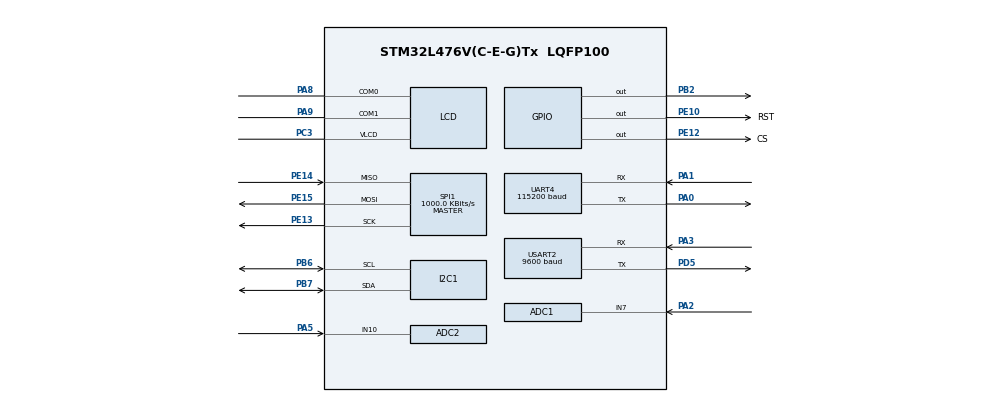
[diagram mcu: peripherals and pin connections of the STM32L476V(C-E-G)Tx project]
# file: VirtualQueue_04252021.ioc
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ADC1.Channel-1\#ChannelRegularConversion=ADC_CHANNEL_7
ADC1.NbrOfConversionFlag=1
ADC1.OffsetNumber-1\#ChannelRegularConversion=ADC_OFFSET_NONE
ADC1.Rank-1\#ChannelRegularConversion=1
ADC1.SamplingTime-1\#ChannelRegularConversion=ADC_SAMPLETIME_2CYCLES_5
ADC1.master=1
ADC2.Channel-0\#ChannelRegularConversion=ADC_CHANNEL_10
ADC2.NbrOfConversionFlag=1
ADC2.OffsetNumber-0\#ChannelRegularConversion=ADC_OFFSET_NONE
ADC2.Rank-0\#ChannelRegularConversion=1
ADC2.SamplingTime-0\#ChannelRegularConversion=ADC_SAMPLETIME_2CYCLES_5
Dma.Request0=UART4_RX
Dma.UART4_RX.0.Direction=DMA_PERIPH_TO_MEMORY
Dma.UART4_RX.0.Instance=DMA2_Channel5
Dma.UART4_RX.0.MemDataAlignment=DMA_MDATAALIGN_BYTE
Dma.UART4_RX.0.MemInc=DMA_MINC_ENABLE
Dma.UART4_RX.0.Mode=DMA_NORMAL
Dma.UART4_RX.0.PeriphDataAlignment=DMA_PDATAALIGN_BYTE
Dma.UART4_RX.0.PeriphInc=DMA_PINC_DISABLE
Dma.UART4_RX.0.Priority=DMA_PRIORITY_LOW
Mcu.Family=STM32L4
Mcu.Name=STM32L476V(C-E-G)Tx
Mcu.Package=LQFP100
NVIC.DMA2_Channel5_IRQn=true\:0\:0\:false\:false\:true\:false\:true
NVIC.PriorityGroup=NVIC_PRIORITYGROUP_4
NVIC.TIM1_UP_TIM16_IRQn=true\:0\:0\:false\:false\:true\:true\:true
NVIC.UART4_IRQn=true\:0\:0\:false\:false\:true\:true\:true
NVIC.USART2_IRQn=true\:0\:0\:false\:false\:true\:true\:true
PA0.Mode=Asynchronous
PA0.Signal=UART4_TX
PA1.Mode=Asynchronous
PA1.Signal=UART4_RX
PA2.Signal=ADCx_IN7
PA3.Mode=Asynchronous
PA3.Signal=USART2_RX
PA5.Signal=ADCx_IN10
PA8.Mode=1/2 Duty Cycle
PA8.Signal=LCD_COM0
PA9.Mode=1/2 Duty Cycle
PA9.Signal=LCD_COM1
PB2.Signal=GPIO_Output
PB6.Mode=I2C
PB6.Signal=I2C1_SCL
PB7.Mode=I2C
PB7.Signal=I2C1_SDA
PC3.Mode=1/2 Duty Cycle
PC3.Signal=LCD_VLCD
PD5.Mode=Asynchronous
PD5.Signal=USART2_TX
PE10.GPIO_Label=RST
PE10.Signal=GPIO_Output
PE12.GPIO_Label=CS
PE12.Signal=GPIO_Output
PE13.Mode=Full_Duplex_Master
PE13.Signal=SPI1_SCK
PE14.Mode=Full_Duplex_Master
PE14.Signal=SPI1_MISO
PE15.Mode=Full_Duplex_Master
PE15.Signal=SPI1_MOSI
ProjectManager.HeapSize=0x200
ProjectManager.StackSize=0x400
ProjectManager.TargetToolchain=STM32CubeIDE
RCC.ADCFreq_Value=32000000
RCC.HSE_VALUE=8000000
RCC.HSI_VALUE=16000000
RCC.LSE_VALUE=32768
RCC.MSI_VALUE=4000000
RCC.PLLSAI1N=16
RCC.USBFreq_Value=32000000
RCC.VCOOutputFreq_Value=32000000
SH.ADCx_IN10.0=ADC2_IN10,IN10-Single-Ended
SH.ADCx_IN7.0=ADC1_IN7,IN7-Single-Ended
SPI1.BaudRatePrescaler=SPI_BAUDRATEPRESCALER_4
SPI1.CalculateBaudRate=1000.0 KBits/s
SPI1.DataSize=SPI_DATASIZE_8BIT
SPI1.Direction=SPI_DIRECTION_2LINES
SPI1.Mode=SPI_MODE_MASTER
SPI1.NSSPMode=SPI_NSS_PULSE_DISABLE
SPI1.VirtualType=VM_MASTER
TIM16.Period=999
TIM16.Prescaler=7999
UART4.BaudRate=115200
USART2.BaudRate=9600
USART2.VirtualMode-Asynchronous=VM_ASYNC
VP_TIM16_VS_ClockSourceINT.Mode=Enable_Timer
board=custom

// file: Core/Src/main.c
/* USER CODE BEGIN Header */
/**
  ******************************************************************************
  * @file           : main.c
  * @brief          : Main program body
  ******************************************************************************
  * @attention
  *
  * <h2><center>&copy; Copyright (c) 2021 STMicroelectronics.
  * All rights reserved.</center></h2>
  *
  * This software component is licensed by ST under BSD 3-Clause license,
  * the "License"; You may not use this file except in compliance with the
  * License. You may obtain a copy of the License at:
  *                        opensource.org/licenses/BSD-3-Clause
  *
  ******************************************************************************
  This is the "clean" version being built towards the final product. The regular
  main.c is more of a testing/unclean version.
  */
/* USER CODE END Header */

#include "main.h"

/* USER CODE BEGIN Includes */
#include <stdio.h>
//#include "retarget.h"
#include "utility.h"
#include "wifi_module.h"
#include "qr_scanner.h"
#include "motion.h"
#include "mytype.h"
#include "thermopile.h"
/* USER CODE END Includes */

ADC_HandleTypeDef hadc1;
ADC_HandleTypeDef hadc2;

I2C_HandleTypeDef hi2c1;

LCD_HandleTypeDef hlcd;

SPI_HandleTypeDef hspi1;

TIM_HandleTypeDef htim16;

UART_HandleTypeDef huart4;
UART_HandleTypeDef huart2;
DMA_HandleTypeDef hdma_uart4_rx;

void SystemClock_Config(void);
static void MX_GPIO_Init(void);
static void MX_DMA_Init(void);
static void MX_LCD_Init(void);
static void MX_USART2_UART_Init(void);
static void MX_UART4_Init(void);
static void MX_I2C1_Init(void);
static void MX_SPI1_Init(void);
static void MX_TIM16_Init(void);
static void MX_ADC1_Init(void);
static void MX_ADC2_Init(void);

int main(void)
{

  /* MCU Configuration--------------------------------------------------------*/

  /* Reset of all peripherals, Initializes the Flash interface and the Systick. */
  HAL_Init();

  /* USER CODE BEGIN Init */
  BSP_LCD_GLASS_Init();

  /* USER CODE END Init */

  /* Configure the system clock */
  SystemClock_Config();

  /* Initialize all configured peripherals */
  MX_GPIO_Init();
  MX_DMA_Init();
  MX_LCD_Init();
  MX_USART2_UART_Init();
  MX_UART4_Init();
  MX_I2C1_Init();
  MX_SPI1_Init();
  MX_TIM16_Init();
  MX_ADC1_Init();
  MX_ADC2_Init();
  /* USER CODE BEGIN 2 */
  //RetargetInit(&huart2);
  printf("\r\nStarting\r\n");

  // INITS
  queue_length = 0; // init these first so the display works
  store_capacity = 0;
  num_in_store = 0;
  main_display_init(&hspi1); // THIS SHOULD INIT FIRST so other modules can use it for error printing

  main_display_info(&hspi1, num_in_store, queue_length, store_capacity, "Starting up...", "Please wait", NULL, NULL);
  qr_scanner_init(&huart2, 0); // note - THIS SHOULD BE CALLED BEFORE esp8266_init() if using QR scanning for WiFi setup

  bool esp_ok = esp8266_init(&huart4, &hspi1, 2, 1);
  if (esp_ok == false) {
	  main_display_info(&hspi1, num_in_store, queue_length, store_capacity, "Wifi doesn't set up properly", NULL, NULL, NULL);
	  return 1;
  }

  qr_scan_pending = 0;
  HAL_UART_Receive_IT(qr_huart, qr_buf, QR_SIZE); // note - CALL THIS HERE to restart QR scanning after WiFi setup via QR

  thermopile_init(&hadc1, &hadc2);

  bool motion_sensor_ok = initialize_motion_sensor(&hi2c1);
  if (motion_sensor_ok != true) {
	  main_display_info(&hspi1, num_in_store, queue_length, store_capacity, "motion sensor fails", NULL, NULL, NULL);
	  return 1;
  }

  // MOTION SENSOR BUFFER VARIABLES
  int pir_size = 50; // size of buffer
  int pir_samples[pir_size]; // buffer
  int threshold = 6; // number of readings in buffer to trigger motion
  int left = 0; // number of lefts
  int right = 0; // number of rights
  int nothing = pir_size; // number of no motions
  bool send_enable = false; // flag to prevent constantly sending when threshold met
  int sample_i = 0; // sample index
  memset(pir_samples, 0, pir_size);

  printf("INIT DONE\r\n");
  main_display_info(&hspi1, num_in_store, queue_length, store_capacity, "Setup complete!", NULL, NULL, NULL);
  get_status(); // get initial queue status for monitor
  HAL_TIM_Base_Start_IT(&htim16);

  int prevent_strobe = 0;
  /* USER CODE END 2 */

  /* Infinite loop */
  /* USER CODE BEGIN WHILE */
  while (1)
  {

    // QR HANDLING
    // if a qr scan has OCCURRED, handle
	if (qr_scan_pending == 1) {
		printf("BEGIN SEND SCAN\r\n");
		qr_scan_received();
	}

    // MOTION SENSOR HANDLING
	if (loop_motion_sensor(&hi2c1) == true) {
		uint8_t movement = motion_sensor_get_moment();

        // decrement count of motion type that is being overwritten
		if (pir_samples[sample_i] == 1) {
			--right;
		} else if (pir_samples[sample_i] == -1) {
			--left;
		} else {
			--nothing;
		}

        // increase appropriate motion type count
		if (movement & MOVEMENT_FROM_2_TO_4)
	    {
		  // RIGHT
	      pir_samples[sample_i] = 1;
	      ++right;
	    }
	    else if(movement & MOVEMENT_FROM_4_TO_2)
	    {
	      // LEFT
	      pir_samples[sample_i] = -1;
	      ++left;
	    } else {
	      pir_samples[sample_i] = 0;
	      ++nothing;
	    }

        // increment buffer index
		sample_i++;
		if (sample_i >= pir_size) {
			sample_i = 0;
		}

        // if motion type has exceeded threshold and able to send,
        // send that type and disable sending
		if (left > threshold && send_enable) {
			printf("SEND LEFT\r\n");
			if (valid_entries > 0) {
				send_entry();
				--valid_entries;
				main_display_info(&hspi1, num_in_store, queue_length, store_capacity, "     Welcome to the ABC Store!", "Please wait to enter...", NULL, NULL);
			} else {
				send_unauthorizedEntry();
				main_display_info(&hspi1, num_in_store, queue_length, store_capacity, "WARNING:", "UNAUTHORIZED ENTRY", NULL, NULL);
			}
			send_enable = false;
		} else if (right > threshold && send_enable) {
			printf("SEND RIGHT\r\n");
			send_exit();
			send_enable = false;
			main_display_info(&hspi1, num_in_store, queue_length, store_capacity, "     Welcome to the ABC Store!", "Please wait to enter...", NULL, NULL);
		} else if (right < threshold && left < threshold) {
            // if both motion types below threshold, enable sending
			if (!send_enable) {
				printf("SEND ENABLE\r\n");
				send_enable = true;
				main_display_info(&hspi1, num_in_store, queue_length, store_capacity, "     Welcome to the ABC Store!", NULL, NULL, NULL);
			}
		}
	}

    // WIFI HANDLING
    // if have a response to handle
	if (message_pending_handling == 1) {
		handle_message_response();
	}
    // if messages pending, get ok and then send
	if (message_queue_head != NULL) {
		if (ready_for_next_message == 1) {
			tcp_connect();
		} else if (good_to_get_ok == 1) {
			get_ok_to_send();
		} else if (good_for_send == 1) {
			send_message();
		}
	}

	// TEMPERATURE
	if (people_checking_in > 0) {
		printf("CHECKING IN\r\n");
		if (prevent_strobe == 0) {
			main_display_info(&hspi1, num_in_store, queue_length, store_capacity, "     Welcome!", "Place your forehead near the sensor", "at the top of the kiosk", NULL);
			HAL_Delay(3000);
			prevent_strobe = 1;
		}
		/*
		//temeprature test
		while(1){
			int temp = getTemp();
			char temp_str[4];
			sprintf(temp_str, "%d", temp);

//purposeful Tsen manipulation
			int Tsen = getTsen();
			Tsen = 30;
			char temp_str2[4];
			sprintf(temp_str2, "%d", Tsen);

			int thermopileV = getV();
			char temp_str3[4];
			sprintf(temp_str3, "%d", thermopileV);

			int Rsen = getR();
			char temp_str4[4];
			sprintf(temp_str4, "%d", Rsen);

			HAL_Delay(2000);
			main_display_info(&hspi1, num_in_store, queue_length, store_capacity, temp_str,temp_str2 , temp_str3, temp_str4);
		}
		//end temperature test
		*/
		int temp = getTemp();
		temp = 36;
		char temp_str[4];
		sprintf(temp_str, "%d", temp);
		if (temp > TEMP_MAX) { // fever
			printf("TEMPERATURE TOO HIGH\r\n");
			main_display_info(&hspi1, num_in_store, queue_length, store_capacity, temp_str, "TEMPERATURE IS TOO HIGH", "SEEK STAFF ASSISTANCE", NULL);
			send_tempError(temp);
			people_checking_in = 0;
		} else if (temp >= TEMP_MIN){ // in bounds
			printf("TEMPERATURE OK PLEASE ENTER\r\n");
			main_display_info(&hspi1, num_in_store, queue_length, store_capacity, temp_str, "Temperature check ok!", "Enter when ready", NULL);
			++valid_entries;
			--people_checking_in;
		}
		if (people_checking_in == 0) {
			send_doneCheckingIn();
			prevent_strobe = 0;
		}
	}

	if (got_unexpected == 1) {
		main_display_info(&hspi1, num_in_store, queue_length, store_capacity, unexpected_return, NULL, NULL, NULL);
		got_unexpected = 0;
	}

    /* USER CODE END WHILE */

  }
}

void SystemClock_Config(void)
{
  RCC_OscInitTypeDef RCC_OscInitStruct = {0};
  RCC_ClkInitTypeDef RCC_ClkInitStruct = {0};
  RCC_PeriphCLKInitTypeDef PeriphClkInit = {0};

  /** Initializes the CPU, AHB and APB busses clocks
  */
  RCC_OscInitStruct.OscillatorType = RCC_OSCILLATORTYPE_LSI|RCC_OSCILLATORTYPE_MSI;
  RCC_OscInitStruct.LSIState = RCC_LSI_ON;
  RCC_OscInitStruct.MSIState = RCC_MSI_ON;
  RCC_OscInitStruct.MSICalibrationValue = 0;
  RCC_OscInitStruct.MSIClockRange = RCC_MSIRANGE_6;
  RCC_OscInitStruct.PLL.PLLState = RCC_PLL_NONE;
  if (HAL_RCC_OscConfig(&RCC_OscInitStruct) != HAL_OK)
  {
    Error_Handler();
  }
  /** Initializes the CPU, AHB and APB busses clocks
  */
  RCC_ClkInitStruct.ClockType = RCC_CLOCKTYPE_HCLK|RCC_CLOCKTYPE_SYSCLK
                              |RCC_CLOCKTYPE_PCLK1|RCC_CLOCKTYPE_PCLK2;
  RCC_ClkInitStruct.SYSCLKSource = RCC_SYSCLKSOURCE_MSI;
  RCC_ClkInitStruct.AHBCLKDivider = RCC_SYSCLK_DIV1;
  RCC_ClkInitStruct.APB1CLKDivider = RCC_HCLK_DIV1;
  RCC_ClkInitStruct.APB2CLKDivider = RCC_HCLK_DIV1;

  if (HAL_RCC_ClockConfig(&RCC_ClkInitStruct, FLASH_LATENCY_0) != HAL_OK)
  {
    Error_Handler();
  }
  PeriphClkInit.PeriphClockSelection = RCC_PERIPHCLK_RTC|RCC_PERIPHCLK_USART2
                              |RCC_PERIPHCLK_UART4|RCC_PERIPHCLK_I2C1
                              |RCC_PERIPHCLK_ADC;
  PeriphClkInit.Usart2ClockSelection = RCC_USART2CLKSOURCE_PCLK1;
  PeriphClkInit.Uart4ClockSelection = RCC_UART4CLKSOURCE_PCLK1;
  PeriphClkInit.I2c1ClockSelection = RCC_I2C1CLKSOURCE_PCLK1;
  PeriphClkInit.AdcClockSelection = RCC_ADCCLKSOURCE_PLLSAI1;
  PeriphClkInit.RTCClockSelection = RCC_RTCCLKSOURCE_LSI;
  PeriphClkInit.PLLSAI1.PLLSAI1Source = RCC_PLLSOURCE_MSI;
  PeriphClkInit.PLLSAI1.PLLSAI1M = 1;
  PeriphClkInit.PLLSAI1.PLLSAI1N = 16;
  PeriphClkInit.PLLSAI1.PLLSAI1P = RCC_PLLP_DIV7;
  PeriphClkInit.PLLSAI1.PLLSAI1Q = RCC_PLLQ_DIV2;
  PeriphClkInit.PLLSAI1.PLLSAI1R = RCC_PLLR_DIV2;
  PeriphClkInit.PLLSAI1.PLLSAI1ClockOut = RCC_PLLSAI1_ADC1CLK;
  if (HAL_RCCEx_PeriphCLKConfig(&PeriphClkInit) != HAL_OK)
  {
    Error_Handler();
  }
  /** Configure the main internal regulator output voltage
  */
  if (HAL_PWREx_ControlVoltageScaling(PWR_REGULATOR_VOLTAGE_SCALE1) != HAL_OK)
  {
    Error_Handler();
  }
}

static void MX_ADC1_Init(void)
{

  ADC_MultiModeTypeDef multimode = {0};
  ADC_ChannelConfTypeDef sConfig = {0};

  /** Common config
  */
  hadc1.Instance = ADC1;
  hadc1.Init.ClockPrescaler = ADC_CLOCK_ASYNC_DIV1;
  hadc1.Init.Resolution = ADC_RESOLUTION_12B;
  hadc1.Init.DataAlign = ADC_DATAALIGN_RIGHT;
  hadc1.Init.ScanConvMode = ADC_SCAN_DISABLE;
  hadc1.Init.EOCSelection = ADC_EOC_SINGLE_CONV;
  hadc1.Init.LowPowerAutoWait = DISABLE;
  hadc1.Init.ContinuousConvMode = DISABLE;
  hadc1.Init.NbrOfConversion = 1;
  hadc1.Init.DiscontinuousConvMode = DISABLE;
  hadc1.Init.ExternalTrigConv = ADC_SOFTWARE_START;
  hadc1.Init.ExternalTrigConvEdge = ADC_EXTERNALTRIGCONVEDGE_NONE;
  hadc1.Init.DMAContinuousRequests = DISABLE;
  hadc1.Init.Overrun = ADC_OVR_DATA_PRESERVED;
  hadc1.Init.OversamplingMode = DISABLE;
  if (HAL_ADC_Init(&hadc1) != HAL_OK)
  {
    Error_Handler();
  }
  /** Configure the ADC multi-mode
  */
  multimode.Mode = ADC_MODE_INDEPENDENT;
  if (HAL_ADCEx_MultiModeConfigChannel(&hadc1, &multimode) != HAL_OK)
  {
    Error_Handler();
  }
  /** Configure Regular Channel
  */
  sConfig.Channel = ADC_CHANNEL_7;
  sConfig.Rank = ADC_REGULAR_RANK_1;
  sConfig.SamplingTime = ADC_SAMPLETIME_2CYCLES_5;
  sConfig.SingleDiff = ADC_SINGLE_ENDED;
  sConfig.OffsetNumber = ADC_OFFSET_NONE;
  sConfig.Offset = 0;
  if (HAL_ADC_ConfigChannel(&hadc1, &sConfig) != HAL_OK)
  {
    Error_Handler();
  }

}

static void MX_ADC2_Init(void)
{

  ADC_ChannelConfTypeDef sConfig = {0};

  /** Common config
  */
  hadc2.Instance = ADC2;
  hadc2.Init.ClockPrescaler = ADC_CLOCK_ASYNC_DIV1;
  hadc2.Init.Resolution = ADC_RESOLUTION_12B;
  hadc2.Init.DataAlign = ADC_DATAALIGN_RIGHT;
  hadc2.Init.ScanConvMode = ADC_SCAN_DISABLE;
  hadc2.Init.EOCSelection = ADC_EOC_SINGLE_CONV;
  hadc2.Init.LowPowerAutoWait = DISABLE;
  hadc2.Init.ContinuousConvMode = DISABLE;
  hadc2.Init.NbrOfConversion = 1;
  hadc2.Init.DiscontinuousConvMode = DISABLE;
  hadc2.Init.ExternalTrigConv = ADC_SOFTWARE_START;
  hadc2.Init.ExternalTrigConvEdge = ADC_EXTERNALTRIGCONVEDGE_NONE;
  hadc2.Init.DMAContinuousRequests = DISABLE;
  hadc2.Init.Overrun = ADC_OVR_DATA_PRESERVED;
  hadc2.Init.OversamplingMode = DISABLE;
  if (HAL_ADC_Init(&hadc2) != HAL_OK)
  {
    Error_Handler();
  }
  /** Configure Regular Channel
  */
  sConfig.Channel = ADC_CHANNEL_10;
  sConfig.Rank = ADC_REGULAR_RANK_1;
  sConfig.SamplingTime = ADC_SAMPLETIME_2CYCLES_5;
  sConfig.SingleDiff = ADC_SINGLE_ENDED;
  sConfig.OffsetNumber = ADC_OFFSET_NONE;
  sConfig.Offset = 0;
  if (HAL_ADC_ConfigChannel(&hadc2, &sConfig) != HAL_OK)
  {
    Error_Handler();
  }

}

static void MX_I2C1_Init(void)
{

  hi2c1.Instance = I2C1;
  hi2c1.Init.Timing = 0x00000E14;
  hi2c1.Init.OwnAddress1 = 0;
  hi2c1.Init.AddressingMode = I2C_ADDRESSINGMODE_7BIT;
  hi2c1.Init.DualAddressMode = I2C_DUALADDRESS_DISABLE;
  hi2c1.Init.OwnAddress2 = 0;
  hi2c1.Init.OwnAddress2Masks = I2C_OA2_NOMASK;
  hi2c1.Init.GeneralCallMode = I2C_GENERALCALL_DISABLE;
  hi2c1.Init.NoStretchMode = I2C_NOSTRETCH_DISABLE;
  if (HAL_I2C_Init(&hi2c1) != HAL_OK)
  {
    Error_Handler();
  }
  /** Configure Analogue filter
  */
  if (HAL_I2CEx_ConfigAnalogFilter(&hi2c1, I2C_ANALOGFILTER_ENABLE) != HAL_OK)
  {
    Error_Handler();
  }
  /** Configure Digital filter
  */
  if (HAL_I2CEx_ConfigDigitalFilter(&hi2c1, 0) != HAL_OK)
  {
    Error_Handler();
  }

}

static void MX_LCD_Init(void)
{

  hlcd.Instance = LCD;
  hlcd.Init.Prescaler = LCD_PRESCALER_1;
  hlcd.Init.Divider = LCD_DIVIDER_16;
  hlcd.Init.Duty = LCD_DUTY_1_2;
  hlcd.Init.Bias = LCD_BIAS_1_4;
  hlcd.Init.VoltageSource = LCD_VOLTAGESOURCE_INTERNAL;
  hlcd.Init.Contrast = LCD_CONTRASTLEVEL_0;
  hlcd.Init.DeadTime = LCD_DEADTIME_0;
  hlcd.Init.PulseOnDuration = LCD_PULSEONDURATION_0;
  hlcd.Init.MuxSegment = LCD_MUXSEGMENT_DISABLE;
  hlcd.Init.BlinkMode = LCD_BLINKMODE_OFF;
  hlcd.Init.BlinkFrequency = LCD_BLINKFREQUENCY_DIV8;
  hlcd.Init.HighDrive = LCD_HIGHDRIVE_DISABLE;
  if (HAL_LCD_Init(&hlcd) != HAL_OK)
  {
    Error_Handler();
  }

}

static void MX_SPI1_Init(void)
{

  /* SPI1 parameter configuration*/
  hspi1.Instance = SPI1;
  hspi1.Init.Mode = SPI_MODE_MASTER;
  hspi1.Init.Direction = SPI_DIRECTION_2LINES;
  hspi1.Init.DataSize = SPI_DATASIZE_8BIT;
  hspi1.Init.CLKPolarity = SPI_POLARITY_LOW;
  hspi1.Init.CLKPhase = SPI_PHASE_1EDGE;
  hspi1.Init.NSS = SPI_NSS_SOFT;
  hspi1.Init.BaudRatePrescaler = SPI_BAUDRATEPRESCALER_4;
  hspi1.Init.FirstBit = SPI_FIRSTBIT_MSB;
  hspi1.Init.TIMode = SPI_TIMODE_DISABLE;
  hspi1.Init.CRCCalculation = SPI_CRCCALCULATION_DISABLE;
  hspi1.Init.CRCPolynomial = 7;
  hspi1.Init.CRCLength = SPI_CRC_LENGTH_DATASIZE;
  hspi1.Init.NSSPMode = SPI_NSS_PULSE_DISABLE;
  if (HAL_SPI_Init(&hspi1) != HAL_OK)
  {
    Error_Handler();
  }

}

static void MX_TIM16_Init(void)
{

  htim16.Instance = TIM16;
  htim16.Init.Prescaler = 7999;
  htim16.Init.CounterMode = TIM_COUNTERMODE_UP;
  htim16.Init.Period = 999;
  htim16.Init.ClockDivision = TIM_CLOCKDIVISION_DIV1;
  htim16.Init.RepetitionCounter = 0;
  htim16.Init.AutoReloadPreload = TIM_AUTORELOAD_PRELOAD_DISABLE;
  if (HAL_TIM_Base_Init(&htim16) != HAL_OK)
  {
    Error_Handler();
  }

}

static void MX_UART4_Init(void)
{

  huart4.Instance = UART4;
  huart4.Init.BaudRate = 115200;
  huart4.Init.WordLength = UART_WORDLENGTH_8B;
  huart4.Init.StopBits = UART_STOPBITS_1;
  huart4.Init.Parity = UART_PARITY_NONE;
  huart4.Init.Mode = UART_MODE_TX_RX;
  huart4.Init.HwFlowCtl = UART_HWCONTROL_NONE;
  huart4.Init.OverSampling = UART_OVERSAMPLING_16;
  huart4.Init.OneBitSampling = UART_ONE_BIT_SAMPLE_DISABLE;
  huart4.AdvancedInit.AdvFeatureInit = UART_ADVFEATURE_NO_INIT;
  if (HAL_UART_Init(&huart4) != HAL_OK)
  {
    Error_Handler();
  }

}

static void MX_USART2_UART_Init(void)
{

  huart2.Instance = USART2;
  huart2.Init.BaudRate = 9600;
  huart2.Init.WordLength = UART_WORDLENGTH_8B;
  huart2.Init.StopBits = UART_STOPBITS_1;
  huart2.Init.Parity = UART_PARITY_NONE;
  huart2.Init.Mode = UART_MODE_TX_RX;
  huart2.Init.HwFlowCtl = UART_HWCONTROL_NONE;
  huart2.Init.OverSampling = UART_OVERSAMPLING_16;
  huart2.Init.OneBitSampling = UART_ONE_BIT_SAMPLE_DISABLE;
  huart2.AdvancedInit.AdvFeatureInit = UART_ADVFEATURE_NO_INIT;
  if (HAL_UART_Init(&huart2) != HAL_OK)
  {
    Error_Handler();
  }

}

static void MX_DMA_Init(void)
{

  /* DMA controller clock enable */
  __HAL_RCC_DMA2_CLK_ENABLE();

  /* DMA interrupt init */
  /* DMA2_Channel5_IRQn interrupt configuration */
  HAL_NVIC_SetPriority(DMA2_Channel5_IRQn, 0, 0);
  HAL_NVIC_EnableIRQ(DMA2_Channel5_IRQn);

}

static void MX_GPIO_Init(void)
{
  GPIO_InitTypeDef GPIO_InitStruct = {0};

  /* GPIO Ports Clock Enable */
  __HAL_RCC_GPIOC_CLK_ENABLE();
  __HAL_RCC_GPIOA_CLK_ENABLE();
  __HAL_RCC_GPIOB_CLK_ENABLE();
  __HAL_RCC_GPIOE_CLK_ENABLE();
  __HAL_RCC_GPIOD_CLK_ENABLE();

  /*Configure GPIO pin Output Level */
  HAL_GPIO_WritePin(GPIOB, GPIO_PIN_2, GPIO_PIN_RESET);

  /*Configure GPIO pin Output Level */
  HAL_GPIO_WritePin(GPIOE, RST_Pin|CS_Pin, GPIO_PIN_RESET);

  /*Configure GPIO pin : PB2 */
  GPIO_InitStruct.Pin = GPIO_PIN_2;
  GPIO_InitStruct.Mode = GPIO_MODE_OUTPUT_PP;
  GPIO_InitStruct.Pull = GPIO_NOPULL;
  GPIO_InitStruct.Speed = GPIO_SPEED_FREQ_LOW;
  HAL_GPIO_Init(GPIOB, &GPIO_InitStruct);

  /*Configure GPIO pins : RST_Pin CS_Pin */
  GPIO_InitStruct.Pin = RST_Pin|CS_Pin;
  GPIO_InitStruct.Mode = GPIO_MODE_OUTPUT_PP;
  GPIO_InitStruct.Pull = GPIO_NOPULL;
  GPIO_InitStruct.Speed = GPIO_SPEED_FREQ_LOW;
  HAL_GPIO_Init(GPIOE, &GPIO_InitStruct);

}

/* USER CODE BEGIN 4 */

// Only used for QR callback.
// If triggered, a QR code has been scanned, set flag.
void HAL_UART_RxCpltCallback(UART_HandleTypeDef *huart)
{
	printf("RX CPLT CALLBACK\r\n");
	if (huart == qr_huart) {
		printf("QR INT\r\n");
		qr_scan_pending = 1;
	}
}

// Called when timer is up.
void HAL_TIM_PeriodElapsedCallback(TIM_HandleTypeDef *htim)
{
    // if is display status timer, get status
	if (htim == &htim16 ) {
		printf("GETTING STATUS\r\n");
		get_status();
	}
}

/* USER CODE END 4 */

void Error_Handler(void)
{
}

#ifdef  USE_FULL_ASSERT
/**
  * @brief  Reports the name of the source file and the source line number
  *         where the assert_param error has occurred.
  * @param  file: pointer to the source file name
  * @param  line: assert_param error line source number
  * @retval None
  */
void assert_failed(char *file, uint32_t line)
{
  /* USER CODE BEGIN 6 */
  /* User can add his own implementation to report the file name and line number,
     tex: //printf("Wrong parameters value: file %s on line %d\r\n", file, line) */
  /* USER CODE END 6 */
}
#endif /* USE_FULL_ASSERT */

/************************ (C) COPYRIGHT STMicroelectronics *****END OF FILE****/
